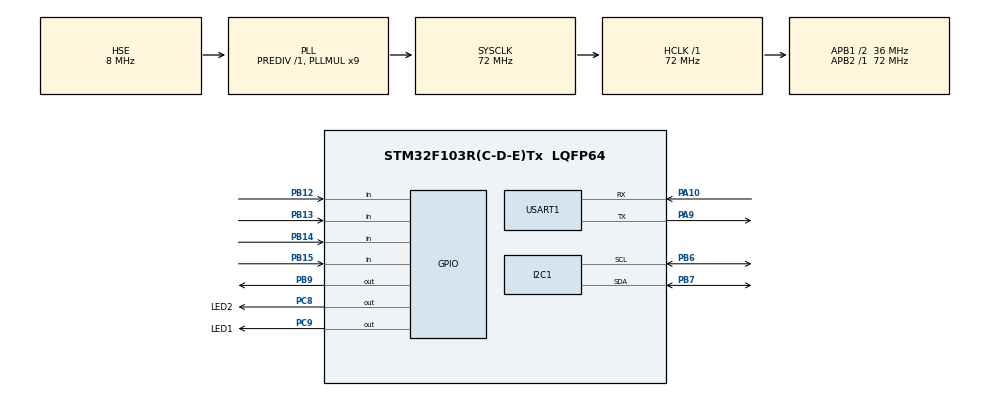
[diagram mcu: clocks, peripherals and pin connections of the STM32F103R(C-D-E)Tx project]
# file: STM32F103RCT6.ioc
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Dma.Request0=USART1_TX
Dma.USART1_TX.0.Direction=DMA_MEMORY_TO_PERIPH
Dma.USART1_TX.0.Instance=DMA1_Channel4
Dma.USART1_TX.0.MemDataAlignment=DMA_MDATAALIGN_BYTE
Dma.USART1_TX.0.MemInc=DMA_MINC_ENABLE
Dma.USART1_TX.0.Mode=DMA_CIRCULAR
Dma.USART1_TX.0.PeriphDataAlignment=DMA_PDATAALIGN_BYTE
Dma.USART1_TX.0.PeriphInc=DMA_PINC_DISABLE
Dma.USART1_TX.0.Priority=DMA_PRIORITY_LOW
Mcu.Family=STM32F1
Mcu.Name=STM32F103R(C-D-E)Tx
Mcu.Package=LQFP64
NVIC.DMA1_Channel4_IRQn=true\:0\:0\:false\:false\:true\:false\:true\:true
NVIC.PriorityGroup=NVIC_PRIORITYGROUP_4
NVIC.USART1_IRQn=true\:6\:0\:true\:false\:true\:true\:true\:true
PA10.Mode=Asynchronous
PA10.Signal=USART1_RX
PA13.Mode=Serial_Wire
PA13.Signal=SYS_JTMS-SWDIO
PA14.Mode=Serial_Wire
PA14.Signal=SYS_JTCK-SWCLK
PA9.Mode=Asynchronous
PA9.Signal=USART1_TX
PB12.GPIO_PuPd=GPIO_PULLUP
PB12.Signal=GPIO_Input
PB13.GPIO_PuPd=GPIO_PULLUP
PB13.Signal=GPIO_Input
PB14.GPIO_PuPd=GPIO_PULLUP
PB14.Signal=GPIO_Input
PB15.GPIO_PuPd=GPIO_PULLUP
PB15.Signal=GPIO_Input
PB6.Mode=I2C
PB6.Signal=I2C1_SCL
PB7.Mode=I2C
PB7.Signal=I2C1_SDA
PB9.Signal=GPIO_Output
PC8.GPIO_Label=LED2
PC8.PinState=GPIO_PIN_SET
PC8.Signal=GPIO_Output
PC9.GPIO_Label=LED1
PC9.PinState=GPIO_PIN_SET
PC9.Signal=GPIO_Output
PD0-OSC_IN.Mode=HSE-External-Oscillator
PD0-OSC_IN.Signal=RCC_OSC_IN
PD1-OSC_OUT.Mode=HSE-External-Oscillator
PD1-OSC_OUT.Signal=RCC_OSC_OUT
ProjectManager.HeapSize=0x200
ProjectManager.StackSize=0x400
ProjectManager.TargetToolchain=MDK-ARM V5.32
RCC.ADCPresc=RCC_ADCPCLK2_DIV6
RCC.AHBFreq_Value=72000000
RCC.APB1CLKDivider=RCC_HCLK_DIV2
RCC.APB1Freq_Value=36000000
RCC.APB1TimFreq_Value=72000000
RCC.APB2Freq_Value=72000000
RCC.APB2TimFreq_Value=72000000
RCC.HCLKFreq_Value=72000000
RCC.PLLMUL=RCC_PLL_MUL9
RCC.PLLSourceVirtual=RCC_PLLSOURCE_HSE
RCC.SYSCLKFreq_VALUE=72000000
RCC.SYSCLKSource=RCC_SYSCLKSOURCE_PLLCLK
RCC.USBFreq_Value=72000000
USART1.VirtualMode=VM_ASYNC
board=custom

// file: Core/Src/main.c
/* USER CODE BEGIN Header */
/**
  ******************************************************************************
  * @file           : main.c
  * @brief          : Main program body
  ******************************************************************************
  * @attention
  *
  * Copyright (c) 2022 STMicroelectronics.
  * All rights reserved.
  *
  * This software is licensed under terms that can be found in the LICENSE file
  * in the root directory of this software component.
  * If no LICENSE file comes with this software, it is provided AS-IS.
  *
  ******************************************************************************
  */
/* USER CODE END Header */
#include "main.h"
#include "dma.h"
#include "i2c.h"
#include "usart.h"
#include "gpio.h"

/* USER CODE BEGIN Includes */
#include "stdio.h"
#include "hal_oled.h"
#include "pic.h"
#include "queue.h"
/* USER CODE END Includes */

/* USER CODE BEGIN PV */
uint8_t RxBuffer;
uint8_t Count = 0;
#define CMD_MAX_SIZE 64
uint8_t cmd_buffer[CMD_MAX_SIZE];

/* USER CODE END PV */

void SystemClock_Config(void);

/* USER CODE BEGIN 0 */
/*!
*  \brief  消息处理流程
*  \param msg 待处理消息
*  \param size 消息长度
*/
void ProcessMessage( PCTRL_MSG msg, uint16_t size )
{
    uint8_t cmd_type = msg->cmd_type;         //指令类型
    uint8_t ctrl_msg = msg->ctrl_msg;         //消息的类型
    uint8_t data = msg->data;

    switch(cmd_type){
      case 0:
        break;
      case 1:
        break;
      default:
        OLED_ShowString(1,1,"cmd:");
        OLED_ShowString(2,1,"ctrl:");
        OLED_ShowString(3,1,"data:");
        OLED_ShowHexNum(1,5,cmd_type,2);
        OLED_ShowHexNum(2,6,ctrl_msg,2);
        OLED_ShowHexNum(3,6,data,2);
        break;
    }

}

/* USER CODE END 0 */

int main(void)
{

  /* MCU Configuration--------------------------------------------------------*/

  /* Reset of all peripherals, Initializes the Flash interface and the Systick. */
  HAL_Init();

  /* USER CODE BEGIN Init */
  OLED_Init();
  /* USER CODE END Init */

  /* Configure the system clock */
  SystemClock_Config();

  /* Initialize all configured peripherals */
  MX_GPIO_Init();
  MX_DMA_Init();
  MX_USART1_UART_Init();
  MX_I2C1_Init();
  /* USER CODE BEGIN 2 */
  OLED_Init();
  OLED_Clear();
  OLED_ShowPIC(PIC2);
  HAL_Delay(500);
  OLED_Clear();
  OLED_ShowString(1,3,"STM32F10RCT6");
  HAL_UART_Transmit(&huart1,(uint8_t*)"STM32F10RCT6",12,10);
  OLED_Clear();
  queue_reset();
  uint8_t size;

  HAL_UART_Receive_IT(&huart1,(uint8_t*)&RxBuffer,1);//串口中断接收初始化
  /* USER CODE END 2 */

  /* Infinite loop */
  /* USER CODE BEGIN WHILE */
  while (1)
  {
    size = queue_find_cmd(cmd_buffer,CMD_MAX_SIZE);                              //从缓冲区中获取一条指令

    if( size > 0 )                                              //接收到指令 ，及判断是否为开机提示
    {
        ProcessMessage((PCTRL_MSG)cmd_buffer, size);                             //指令处理
    }

    HAL_UART_Receive_IT(&huart1,(uint8_t*)&RxBuffer,1);         //串口中断接收初始化，正常初始化一次即可，在这里出现BUG，为解决串口只能进入一次中断
//    if(RxBuffer != 0 ){
//      HAL_UART_Transmit(&huart1,(uint8_t*)&RxBuffer,1,1);
//    }
    /* USER CODE END WHILE */

  }
}

void SystemClock_Config(void)
{
  RCC_OscInitTypeDef RCC_OscInitStruct = {0};
  RCC_ClkInitTypeDef RCC_ClkInitStruct = {0};

  /** Initializes the RCC Oscillators according to the specified parameters
  * in the RCC_OscInitTypeDef structure.
  */
  RCC_OscInitStruct.OscillatorType = RCC_OSCILLATORTYPE_HSE;
  RCC_OscInitStruct.HSEState = RCC_HSE_ON;
  RCC_OscInitStruct.HSEPredivValue = RCC_HSE_PREDIV_DIV1;
  RCC_OscInitStruct.HSIState = RCC_HSI_ON;
  RCC_OscInitStruct.PLL.PLLState = RCC_PLL_ON;
  RCC_OscInitStruct.PLL.PLLSource = RCC_PLLSOURCE_HSE;
  RCC_OscInitStruct.PLL.PLLMUL = RCC_PLL_MUL9;
  if (HAL_RCC_OscConfig(&RCC_OscInitStruct) != HAL_OK)
  {
    Error_Handler();
  }

  /** Initializes the CPU, AHB and APB buses clocks
  */
  RCC_ClkInitStruct.ClockType = RCC_CLOCKTYPE_HCLK|RCC_CLOCKTYPE_SYSCLK
                              |RCC_CLOCKTYPE_PCLK1|RCC_CLOCKTYPE_PCLK2;
  RCC_ClkInitStruct.SYSCLKSource = RCC_SYSCLKSOURCE_PLLCLK;
  RCC_ClkInitStruct.AHBCLKDivider = RCC_SYSCLK_DIV1;
  RCC_ClkInitStruct.APB1CLKDivider = RCC_HCLK_DIV2;
  RCC_ClkInitStruct.APB2CLKDivider = RCC_HCLK_DIV1;

  if (HAL_RCC_ClockConfig(&RCC_ClkInitStruct, FLASH_LATENCY_2) != HAL_OK)
  {
    Error_Handler();
  }
}

/* USER CODE BEGIN 4 */
void HAL_UART_RxCpltCallback(UART_HandleTypeDef *huart)
{
  if( huart->Instance == USART1 ){
    queue_push(RxBuffer);
    HAL_GPIO_TogglePin(GPIOC,GPIO_PIN_9);
  }
}

/* USER CODE END 4 */

void Error_Handler(void)
{
  __disable_irq();
  while (1)
  {
  }
}
